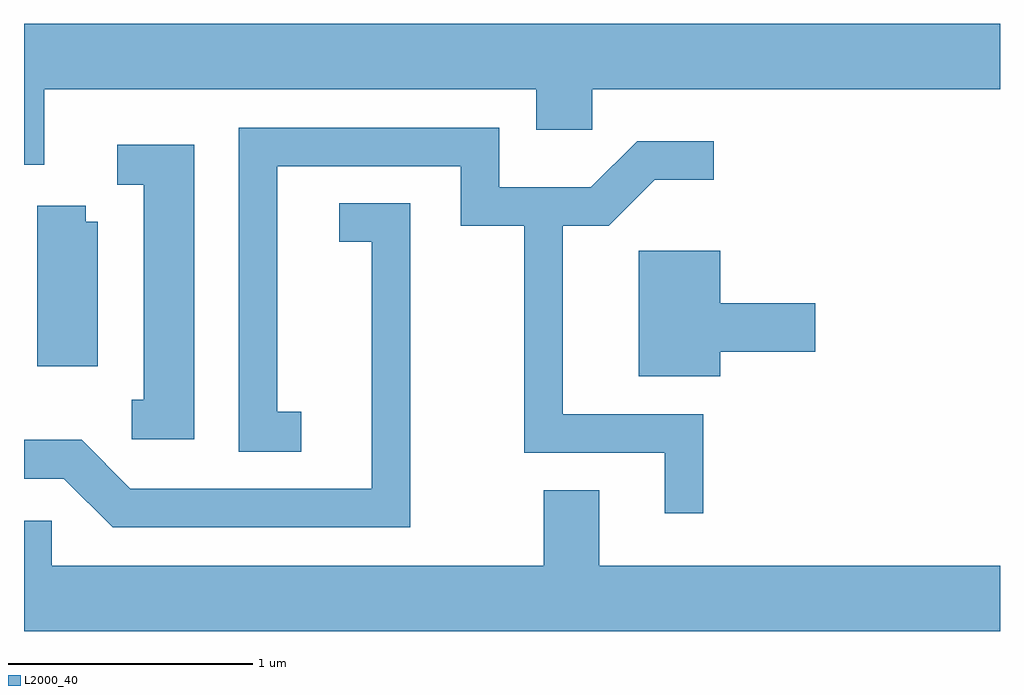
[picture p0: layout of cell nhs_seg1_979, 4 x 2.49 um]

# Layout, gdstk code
import gdstk
lib = gdstk.Library(unit=1e-6, precision=1e-09)
def P(c, l, *ps):  # polygons
    for p in ps: c.add(gdstk.Polygon(p, *l))
L2000_40 = (2000, 40)

nhs_seg1_979 = lib.new_cell('nhs_seg1_979')
P(nhs_seg1_979, L2000_40, [(215.694,890.696),(217.711,890.696),(217.711,890.531),(217.939,890.531),(217.939,890.696),(219.611,890.696),(219.611,890.964),(215.611,890.964),(215.611,890.386),(215.694,890.386)],
  [(218.394,889.364),(217.819,889.364),(217.819,890.136),(218.007,890.136),(218.197,890.326),(218.438,890.326),(218.438,890.484),(218.124,890.484),(217.934,890.294),(217.559,890.294),(217.559,890.539),(216.491,890.539),(216.491,889.211),(216.748,889.211),(216.748,889.374),(216.649,889.374),(216.649,890.381),(217.401,890.381),(217.401,890.136),(217.661,890.136),(217.661,889.206),(218.236,889.206),(218.236,888.958),(218.394,888.958)],
  [(216.309,890.469),(215.993,890.469),(215.993,890.306),(216.101,890.306),(216.101,889.424),(216.053,889.424),(216.053,889.261),(216.309,889.261)],
  [(217.194,890.229),(216.903,890.229),(216.903,890.071),(217.036,890.071),(217.036,889.059),(216.047,889.059),(215.847,889.259),(215.611,889.259),(215.611,889.101),(215.774,889.101),(215.974,888.901),(217.194,888.901)],
  [(215.914,890.154),(215.864,890.154),(215.864,890.219),(215.666,890.219),(215.666,889.561),(215.914,889.561)],
  [(218.464,889.621),(218.854,889.621),(218.854,889.819),(218.464,889.819),(218.464,890.034),(218.131,890.034),(218.131,889.521),(218.464,889.521)],
  [(219.611,888.744),(217.969,888.744),(217.969,889.054),(217.741,889.054),(217.741,888.744),(215.724,888.744),(215.724,888.929),(215.611,888.929),(215.611,888.476),(219.611,888.476)])

lib.write_gds('nhs_seg1_979.gds')
